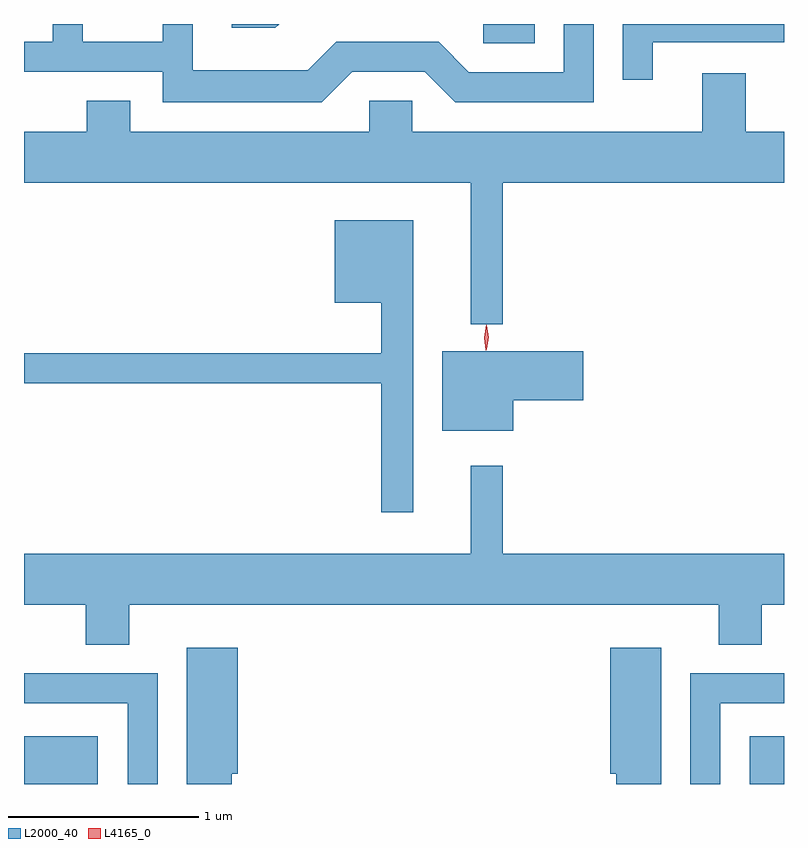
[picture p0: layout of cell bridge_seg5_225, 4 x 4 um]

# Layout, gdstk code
import gdstk
lib = gdstk.Library(unit=1e-6, precision=1e-09)
def R(c, l, rs):  # rectangles x0, y0, x1, y1
    for r in rs: c.add(gdstk.rectangle(r[:2], r[2:], *l))
def P(c, l, *ps):  # polygons
    for p in ps: c.add(gdstk.Polygon(p, *l))
L2000_40 = (2000, 40)
L4165_0 = (4165, 0)

bridge_seg5_225 = lib.new_cell('bridge_seg5_225')
R(bridge_seg5_225, L2000_40, [(1328.47,1449.192,1328.859,1449.444), (1332.291,1449.192,1332.47,1449.444), (1330.888,1453.091,1331.159,1453.192)])
P(bridge_seg5_225, L2000_40, [(1330.197,1452.941),(1330.579,1452.941),(1330.739,1452.781),(1331.469,1452.781),(1331.469,1453.192),(1331.311,1453.192),(1331.311,1452.939),(1330.812,1452.939),(1330.652,1453.099),(1330.114,1453.099),(1329.964,1452.949),(1329.359,1452.949),(1329.359,1453.192),(1329.201,1453.192),(1329.201,1453.099),(1328.779,1453.099),(1328.779,1453.192),(1328.621,1453.192),(1328.621,1453.099),(1328.47,1453.099),(1328.47,1452.941),(1329.201,1452.941),(1329.201,1452.781),(1330.037,1452.781)],
  [(1331.779,1453.096),(1332.47,1453.096),(1332.47,1453.192),(1331.621,1453.192),(1331.621,1452.898),(1331.779,1452.898)],
  [(1329.813,1453.192),(1329.563,1453.192),(1329.563,1453.171),(1329.792,1453.171)],
  [(1330.989,1452.356),(1332.47,1452.356),(1332.47,1452.624),(1332.269,1452.624),(1332.269,1452.934),(1332.041,1452.934),(1332.041,1452.624),(1330.514,1452.624),(1330.514,1452.789),(1330.286,1452.789),(1330.286,1452.624),(1329.029,1452.624),(1329.029,1452.789),(1328.801,1452.789),(1328.801,1452.624),(1328.47,1452.624),(1328.47,1452.356),(1330.821,1452.356),(1330.821,1451.613),(1330.989,1451.613)],
  [(1330.519,1452.159),(1330.106,1452.159),(1330.106,1451.726),(1330.351,1451.726),(1330.351,1451.459),(1328.47,1451.459),(1328.47,1451.301),(1330.351,1451.301),(1330.351,1450.623),(1330.519,1450.623)],
  [(1331.044,1451.211),(1331.414,1451.211),(1331.414,1451.469),(1330.671,1451.469),(1330.671,1451.051),(1331.044,1451.051)],
  [(1329.024,1450.136),(1332.126,1450.136),(1332.126,1449.926),(1332.354,1449.926),(1332.354,1450.136),(1332.47,1450.136),(1332.47,1450.404),(1330.989,1450.404),(1330.989,1450.868),(1330.821,1450.868),(1330.821,1450.404),(1328.47,1450.404),(1328.47,1450.136),(1328.796,1450.136),(1328.796,1449.926),(1329.024,1449.926)],
  [(1331.824,1449.909),(1331.556,1449.909),(1331.556,1449.246),(1331.586,1449.246),(1331.586,1449.192),(1331.824,1449.192)],
  [(1329.564,1449.246),(1329.594,1449.246),(1329.594,1449.909),(1329.326,1449.909),(1329.326,1449.192),(1329.564,1449.192)],
  [(1329.174,1449.774),(1328.47,1449.774),(1328.47,1449.616),(1329.016,1449.616),(1329.016,1449.192),(1329.174,1449.192)],
  [(1332.134,1449.616),(1332.47,1449.616),(1332.47,1449.774),(1331.976,1449.774),(1331.976,1449.192),(1332.134,1449.192)])
P(bridge_seg5_225, L4165_0, [(1330.905,1451.48),(1330.896,1451.543),(1330.905,1451.606),(1330.905,1451.607),(1330.906,1451.606),(1330.916,1451.543),(1330.906,1451.48),(1330.906,1451.48)],
  [(1330.901,1451.474),(1330.893,1451.542),(1330.903,1451.61),(1330.904,1451.61),(1330.904,1451.61),(1330.913,1451.542),(1330.902,1451.474),(1330.902,1451.474)])

lib.write_gds('bridge_seg5_225.gds')
